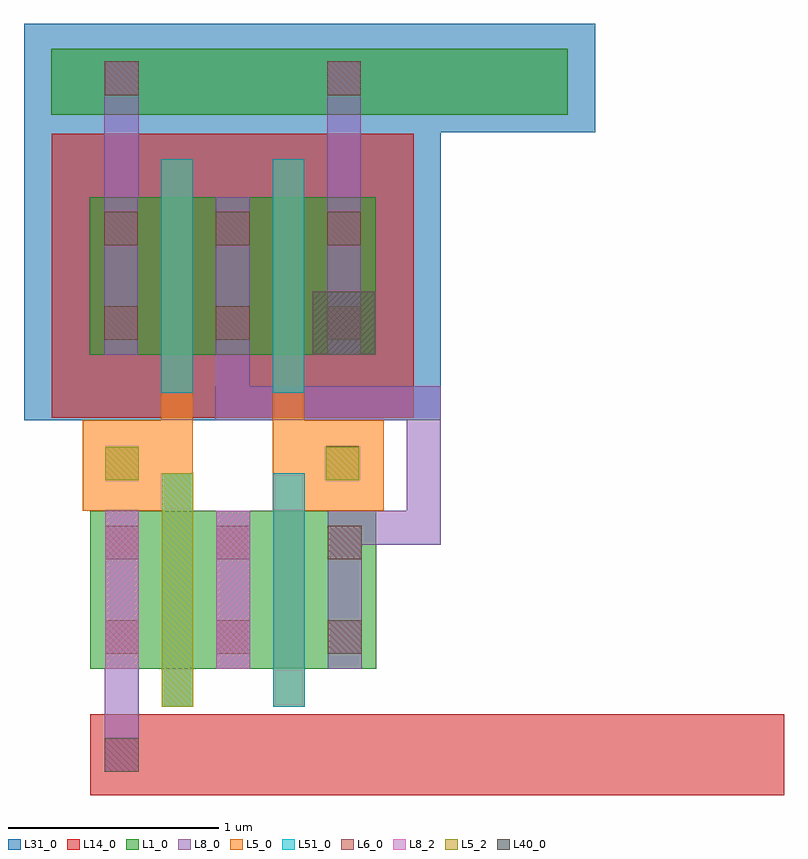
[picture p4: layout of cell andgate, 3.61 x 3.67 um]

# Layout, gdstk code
import gdstk
lib = gdstk.Library(unit=1e-6, precision=1.5e-09)
def R(c, l, rs):  # rectangles x0, y0, x1, y1
    for r in rs: c.add(gdstk.rectangle(r[:2], r[2:], *l))
L1_0 = (1, 0)
L5_0 = (5, 0)
L5_2 = (5, 2)
L6_0 = (6, 0)
L8_0 = (8, 0)
L8_2 = (8, 2)
L14_0 = (14, 0)
L31_0 = (31, 0)
L40_0 = (40, 0)
L51_0 = (51, 0)

pmos_5 = lib.new_cell('pmos$5')
R(pmos_5, L1_0, [(0,0,0.3,0.3), (0,0,1.3605,0.75), (0.5295,0,0.8295,0.3), (1.0605,0,1.3605,0.3)])
R(pmos_5, L5_0, [(0.3405,-0.18,0.4905,0.93), (0.3405,-0.18,0.4905,0.93), (0.87,-0.18,1.02,0.93)])
R(pmos_5, L6_0, [(0.0705,0.0705,0.2295,0.2295), (0.6,0.0705,0.7605,0.2295), (1.1295,0.0705,1.29,0.2295), (0.0705,0.5205,0.2295,0.6795), (0.6,0.5205,0.7605,0.6795), (1.1295,0.5205,1.29,0.6795)])
R(pmos_5, L8_0, [(0.0705,0,0.2295,0.75), (0.0705,0,0.2295,0.75), (0.6,0,0.7605,0.75), (0.6,0,0.7605,0.75), (1.1295,0,1.29,0.75)])
R(pmos_5, L14_0, [(-0.18,-0.3,1.5405,1.05)])
R(pmos_5, L31_0, [(-0.3105,-0.3105,1.6695,1.0605)])
R(pmos_5, L40_0, [(1.0605,0,1.3605,0.3)])
R(pmos_5, L51_0, [(0.3405,-0.18,0.4905,0.93), (0.87,-0.18,1.02,0.93)])
pmos_5.add(gdstk.Label('pmos', (0.4155,0.375), layer=63, texttype=0))
pmos_5.add(gdstk.Label('pmos', (0.4155,0.375), layer=51, texttype=0))
pmos_5.add(gdstk.Label('pmos', (0.945,0.375), layer=51, texttype=0))

nmos_5 = lib.new_cell('nmos$5')
R(nmos_5, L1_0, [(0,0,0.3,0.3), (0,0,1.3605,0.75), (0.5295,0,0.8295,0.3), (1.0605,0,1.3605,0.3)])
R(nmos_5, L5_0, [(0.3405,-0.18,0.4905,0.93), (0.87,-0.18,1.02,0.93)])
R(nmos_5, L5_2, [(0.3405,-0.18,0.4905,0.93)])
R(nmos_5, L6_0, [(0.0705,0.0705,0.2295,0.2295), (0.6,0.0705,0.7605,0.2295), (1.1295,0.0705,1.29,0.2295), (0.0705,0.5205,0.2295,0.6795), (0.6,0.5205,0.7605,0.6795), (1.1295,0.5205,1.29,0.6795)])
R(nmos_5, L8_0, [(0.0705,0,0.2295,0.75), (0.6,0,0.7605,0.75), (1.1295,0,1.29,0.75)])
R(nmos_5, L8_2, [(0.0705,0,0.2295,0.75), (0.6,0,0.7605,0.75)])
R(nmos_5, L51_0, [(0.3405,-0.18,0.4905,0.93), (0.87,-0.18,1.02,0.93)])
nmos_5.add(gdstk.Label('nmos', (0.4155,0.375), layer=63, texttype=0))
nmos_5.add(gdstk.Label('nmos', (0.4155,0.375), layer=51, texttype=0))
nmos_5.add(gdstk.Label('nmos', (0.945,0.375), layer=51, texttype=0))

andgate = lib.new_cell('andgate')
R(andgate, L1_0, [(-2.5605,0.7905,-0.105,1.1055)])
R(andgate, L5_0, [(-2.4105,-1.0905,-2.0355,-0.6615), (-1.506,-1.0905,-1.356,-0.5295), (-1.356,-1.0905,-0.9795,-0.66), (-2.037,-1.08,-1.887,-0.5295)])
R(andgate, L5_2, [(-2.304,-0.945,-2.145,-0.786), (-1.2555,-0.945,-1.0965,-0.786)])
R(andgate, L6_0, [(-2.3055,-2.3325,-2.145,-2.172), (-2.304,-0.9465,-2.1435,-0.786), (-1.2555,-0.945,-1.095,-0.7845), (-2.3055,0.885,-2.145,1.0455), (-1.248,0.885,-1.0875,1.0455)])
R(andgate, L8_0, [(-2.3055,-2.3325,-2.145,-1.842), (-1.245,-1.2525,-0.708,-1.092), (-0.8685,-1.2525,-0.708,-0.4995), (-1.7805,-0.66,-0.708,-0.4995), (-1.7775,-0.6495,-1.617,-0.3255), (-2.307,0.4005,-2.145,1.0455), (-1.248,0.4005,-1.0875,1.0455)])
R(andgate, L14_0, [(-2.3745,-2.4435,0.924,-2.058)])
R(andgate, L31_0, [(-2.6895,0.7095,0.027,1.224)])
andgate.add(gdstk.Reference(pmos_5, (-2.3775,-0.3495)))
andgate.add(gdstk.Reference(nmos_5, (-2.3745,-1.842)))

lib.write_gds('andgate.gds')
